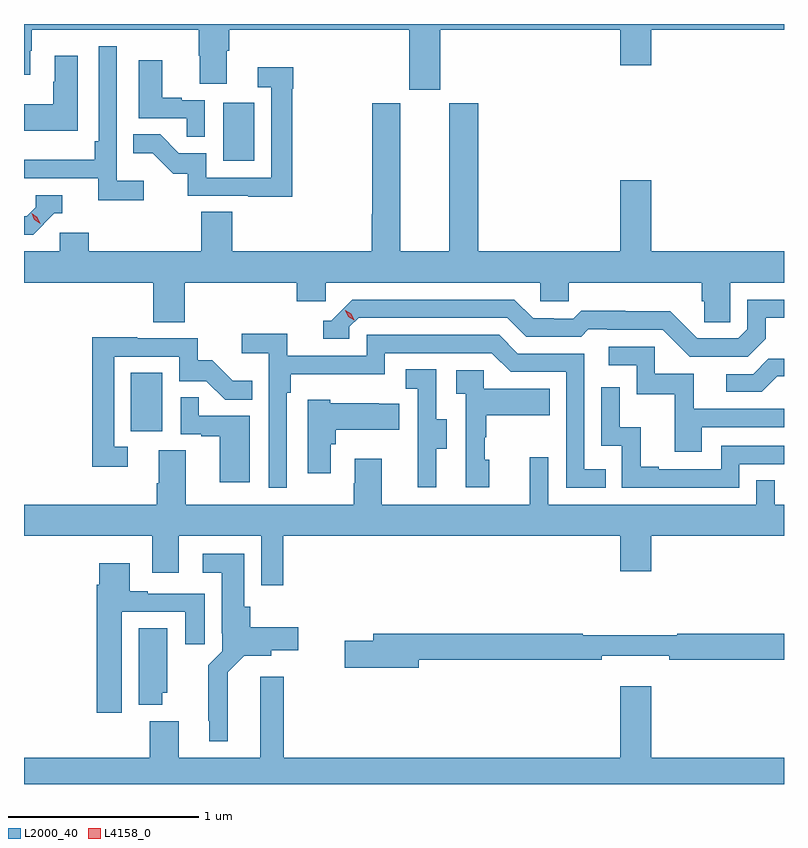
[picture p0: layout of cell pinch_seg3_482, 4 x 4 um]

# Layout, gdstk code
import gdstk
lib = gdstk.Library(unit=1e-6, precision=1e-09)
def R(c, l, rs):  # rectangles x0, y0, x1, y1
    for r in rs: c.add(gdstk.rectangle(r[:2], r[2:], *l))
def P(c, l, *ps):  # polygons
    for p in ps: c.add(gdstk.Polygon(p, *l))
L2000_40 = (2000, 40)
L4158_0 = (4158, 0)

pinch_seg3_482 = lib.new_cell('pinch_seg3_482')
R(pinch_seg3_482, L2000_40, [(1001.594,678.822,1001.758,679.129), (1002.08,680.244,1002.244,680.551)])
P(pinch_seg3_482, L2000_40, [(1003.222,680.936),(1004.168,680.936),(1004.168,680.748),(1004.332,680.748),(1004.332,680.936),(1005.031,680.936),(1005.031,680.965),(1001.031,680.965),(1001.031,680.697),(1001.065,680.697),(1001.065,680.825),(1001.073,680.825),(1001.073,680.936),(1001.95,680.936),(1001.95,680.799),(1001.957,680.799),(1001.957,680.65),(1002.097,680.65),(1002.097,680.824),(1002.11,680.824),(1002.11,680.936),(1003.058,680.936),(1003.058,680.619),(1003.222,680.619)],
  [(1001.662,680.14),(1001.52,680.14),(1001.52,680.848),(1001.424,680.848),(1001.424,680.347),(1001.404,680.347),(1001.404,680.251),(1001.031,680.251),(1001.031,680.154),(1001.423,680.154),(1001.423,680.038),(1001.662,680.038)],
  [(1001.314,680.797),(1001.192,680.797),(1001.192,680.661),(1001.185,680.661),(1001.185,680.542),(1001.031,680.542),(1001.031,680.402),(1001.314,680.402)],
  [(1001.982,680.565),(1001.861,680.565),(1001.861,680.578),(1001.758,680.578),(1001.758,680.773),(1001.636,680.773),(1001.636,680.469),(1001.887,680.469),(1001.887,680.371),(1001.982,680.371)],
  [(1002.442,680.624),(1002.449,680.624),(1002.449,680.737),(1002.261,680.737),(1002.261,680.631),(1002.333,680.631),(1002.333,680.157),(1001.991,680.157),(1001.991,680.286),(1001.846,680.286),(1001.748,680.384),(1001.605,680.384),(1001.605,680.285),(1001.709,680.285),(1001.816,680.178),(1001.893,680.178),(1001.893,680.061),(1002.211,680.061),(1002.211,680.056),(1002.442,680.056)],
  [(1001.876,679.604),(1002.467,679.604),(1002.467,679.506),(1002.618,679.506),(1002.618,679.604),(1003.749,679.604),(1003.749,679.506),(1003.899,679.506),(1003.899,679.604),(1004.597,679.604),(1004.597,679.506),(1004.611,679.506),(1004.611,679.396),(1004.748,679.396),(1004.748,679.604),(1005.031,679.604),(1005.031,679.768),(1004.332,679.768),(1004.332,680.143),(1004.168,680.143),(1004.168,679.768),(1003.421,679.768),(1003.421,680.547),(1003.268,680.547),(1003.268,679.768),(1003.012,679.768),(1003.012,680.547),(1002.865,680.547),(1002.865,679.964),(1002.86,679.964),(1002.86,679.768),(1002.128,679.768),(1002.128,679.976),(1001.963,679.976),(1001.963,679.768),(1001.372,679.768),(1001.372,679.866),(1001.22,679.866),(1001.22,679.768),(1001.031,679.768),(1001.031,679.604),(1001.711,679.604),(1001.711,679.396),(1001.876,679.396)],
  [(1001.19,679.968),(1001.233,679.968),(1001.233,680.064),(1001.094,680.064),(1001.094,680.001),(1001.046,679.953),(1001.031,679.953),(1001.031,679.857),(1001.079,679.857)],
  [(1004.935,679.309),(1004.935,679.419),(1005.031,679.419),(1005.031,679.515),(1004.838,679.515),(1004.838,679.359),(1004.79,679.311),(1004.574,679.311),(1004.432,679.453),(1004.196,679.453),(1004.196,679.456),(1003.963,679.456),(1003.921,679.413),(1003.818,679.413),(1003.818,679.416),(1003.711,679.416),(1003.612,679.515),(1002.759,679.515),(1002.648,679.404),(1002.605,679.404),(1002.605,679.308),(1002.744,679.308),(1002.744,679.371),(1002.792,679.419),(1003.575,679.419),(1003.674,679.32),(1003.963,679.32),(1004.002,679.359),(1004.101,679.359),(1004.101,679.356),(1004.394,679.356),(1004.535,679.215),(1004.841,679.215)],
  [(1002.414,679.025),(1002.434,679.025),(1002.434,679.121),(1002.93,679.121),(1002.93,679.233),(1003.494,679.233),(1003.593,679.134),(1003.884,679.134),(1003.884,678.525),(1004.093,678.525),(1004.093,678.621),(1003.98,678.621),(1003.98,679.23),(1003.63,679.23),(1003.531,679.329),(1002.834,679.329),(1002.834,679.218),(1002.416,679.218),(1002.416,679.334),(1002.177,679.334),(1002.177,679.232),(1002.318,679.232),(1002.318,678.525),(1002.414,678.525)],
  [(1001.578,678.741),(1001.505,678.741),(1001.505,679.215),(1001.847,679.215),(1001.847,679.086),(1001.991,679.086),(1002.089,678.988),(1002.233,678.988),(1002.233,679.087),(1002.129,679.087),(1002.022,679.194),(1001.946,679.194),(1001.946,679.311),(1001.627,679.311),(1001.627,679.316),(1001.389,679.316),(1001.389,678.636),(1001.578,678.636)],
  [(1004.599,678.843),(1005.031,678.843),(1005.031,678.939),(1004.557,678.939),(1004.557,679.125),(1004.352,679.125),(1004.352,679.266),(1004.109,679.266),(1004.109,679.17),(1004.256,679.17),(1004.256,679.017),(1004.455,679.017),(1004.455,678.714),(1004.599,678.714)],
  [(1004.995,679.11),(1005.031,679.11),(1005.031,679.202),(1004.948,679.202),(1004.868,679.122),(1004.727,679.122),(1004.727,679.029),(1004.914,679.029)],
  [(1003.201,678.73),(1003.255,678.73),(1003.255,678.885),(1003.2,678.885),(1003.2,679.148),(1003.041,679.148),(1003.041,679.045),(1003.104,679.045),(1003.104,678.741),(1003.103,678.741),(1003.103,678.528),(1003.201,678.528)],
  [(1003.48,678.672),(1003.455,678.672),(1003.455,678.791),(1003.465,678.791),(1003.465,678.905),(1003.799,678.905),(1003.799,679.045),(1003.452,679.045),(1003.452,679.143),(1003.305,679.143),(1003.305,679.019),(1003.356,679.019),(1003.356,678.528),(1003.48,678.528)],
  [(1004.796,678.648),(1005.031,678.648),(1005.031,678.744),(1004.7,678.744),(1004.7,678.621),(1004.371,678.621),(1004.371,678.634),(1004.276,678.634),(1004.276,678.842),(1004.166,678.842),(1004.166,679.054),(1004.07,679.054),(1004.07,678.744),(1004.178,678.744),(1004.178,678.525),(1004.796,678.525)],
  [(1002.22,678.903),(1001.951,678.903),(1001.951,679.001),(1001.856,679.001),(1001.856,678.807),(1001.963,678.807),(1001.963,678.795),(1002.062,678.795),(1002.062,678.552),(1002.22,678.552)],
  [(1002.646,678.753),(1002.672,678.753),(1002.672,678.83),(1003.007,678.83),(1003.007,678.967),(1002.899,678.967),(1002.899,678.97),(1002.642,678.97),(1002.642,678.988),(1002.524,678.988),(1002.524,678.6),(1002.646,678.6)],
  [(1002.395,678.272),(1004.168,678.272),(1004.168,678.084),(1004.332,678.084),(1004.332,678.272),(1005.031,678.272),(1005.031,678.436),(1004.982,678.436),(1004.982,678.563),(1004.886,678.563),(1004.886,678.436),(1003.791,678.436),(1003.791,678.685),(1003.694,678.685),(1003.694,678.436),(1002.913,678.436),(1002.913,678.676),(1002.773,678.676),(1002.773,678.548),(1002.766,678.548),(1002.766,678.436),(1001.881,678.436),(1001.881,678.722),(1001.741,678.722),(1001.741,678.548),(1001.729,678.548),(1001.729,678.436),(1001.031,678.436),(1001.031,678.272),(1001.705,678.272),(1001.705,678.078),(1001.845,678.078),(1001.845,678.272),(1002.279,678.272),(1002.279,678.012),(1002.395,678.012)],
  [(1002.103,677.552),(1002.189,677.639),(1002.331,677.639),(1002.331,677.669),(1002.475,677.669),(1002.475,677.791),(1002.221,677.791),(1002.221,677.898),(1002.19,677.898),(1002.19,678.178),(1001.973,678.178),(1001.973,678.077),(1002.071,678.077),(1002.071,677.758),(1002.075,677.758),(1002.075,677.664),(1002.001,677.59),(1002.001,677.299),(1002.005,677.299),(1002.005,677.189),(1002.103,677.189)],
  [(1001.545,677.871),(1001.879,677.871),(1001.879,677.7),(1001.983,677.7),(1001.983,677.967),(1001.683,677.967),(1001.683,677.98),(1001.587,677.98),(1001.587,678.127),(1001.426,678.127),(1001.426,678.014),(1001.414,678.014),(1001.414,677.34),(1001.545,677.34)],
  [(1001.758,677.445),(1001.785,677.445),(1001.785,677.786),(1001.636,677.786),(1001.636,677.381),(1001.758,677.381)],
  [(1003.108,677.62),(1004.072,677.62),(1004.072,677.639),(1004.428,677.639),(1004.428,677.62),(1005.031,677.62),(1005.031,677.756),(1004.468,677.756),(1004.468,677.749),(1003.973,677.749),(1003.973,677.756),(1002.869,677.756),(1002.869,677.72),(1002.72,677.72),(1002.72,677.578),(1003.108,677.578)],
  [(1005.031,677.104),(1004.332,677.104),(1004.332,677.479),(1004.168,677.479),(1004.168,677.104),(1002.398,677.104),(1002.398,677.53),(1002.275,677.53),(1002.275,677.104),(1001.845,677.104),(1001.845,677.296),(1001.693,677.296),(1001.693,677.104),(1001.031,677.104),(1001.031,676.965),(1005.031,676.965)])
P(pinch_seg3_482, L4158_0, [(1002.769,679.406),(1002.738,679.425),(1002.722,679.458),(1002.722,679.458),(1002.722,679.458),(1002.753,679.439),(1002.769,679.406),(1002.769,679.406)],
  [(1001.116,679.914),(1001.086,679.935),(1001.071,679.968),(1001.071,679.968),(1001.071,679.968),(1001.102,679.948),(1001.116,679.915),(1001.116,679.914)])

lib.write_gds('pinch_seg3_482.gds')
